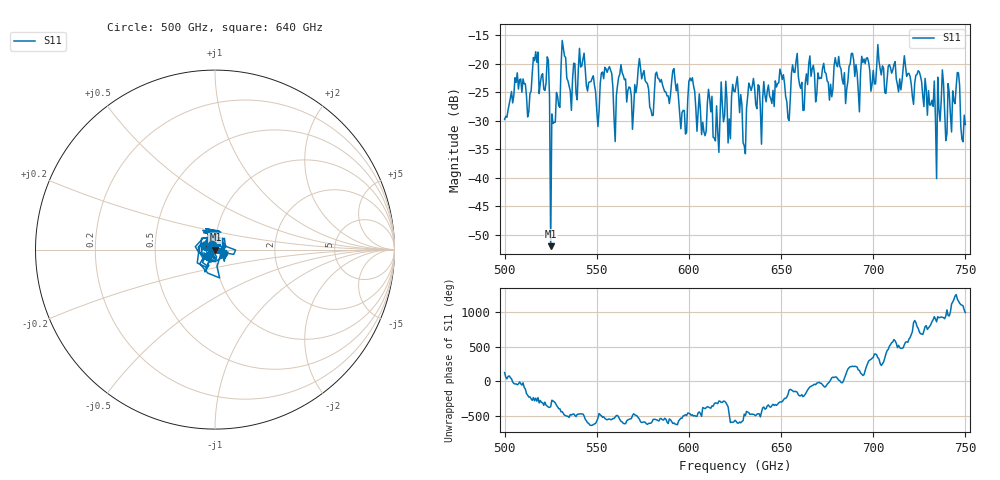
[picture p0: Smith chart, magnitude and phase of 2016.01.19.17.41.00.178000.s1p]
!Created with skrf (http://scikit-rf.org).
# GHz S RI R 50.0
!freq ReS11 ImS11
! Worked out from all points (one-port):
!   401 points, 500 GHz to 750 GHz, reference 50 ohm
!   lowest |S11| = -52.0 dB at 525 GHz (marker M1), VSWR 1.01, Z = 50.2 - j0.0355 ohm
!   |S11| at or under -10 dB: start of sweep to end of sweep
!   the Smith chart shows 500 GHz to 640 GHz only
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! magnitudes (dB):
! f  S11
! 500 GHz  -29.8
! 506.9 GHz  -21.6
! 513.1 GHz  -28.4
! 516.9 GHz  -17.9
! 523.1 GHz  -18.8
! 525 GHz  -52.0
! 526.2 GHz  -30.5
! 531.2 GHz  -15.9
! 535.6 GHz  -24.8
! 541.9 GHz  -20.4
! 550 GHz  -28.2
! 560 GHz  -33.7
! 562.5 GHz  -21.9
! 593.8 GHz  -23.6
! 597.5 GHz  -28.2
! 601.2 GHz  -23.0
! 615 GHz  -27.4
! 625 GHz  -25.0
! 630 GHz  -34.4
! 633.8 GHz  -24.7
! 650.6 GHz  -22.8
! 653.8 GHz  -29.6
! 656.2 GHz  -20.2
! 687.5 GHz  -20.1
! 718.8 GHz  -21.8
! 735 GHz  -22.4
! 745.6 GHz  -21.6
! 750 GHz  -30.7
